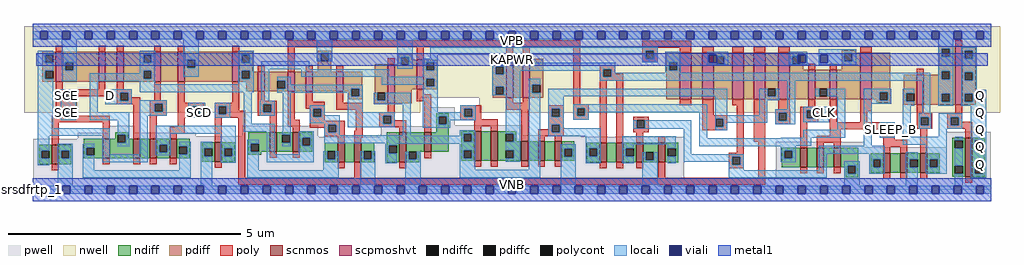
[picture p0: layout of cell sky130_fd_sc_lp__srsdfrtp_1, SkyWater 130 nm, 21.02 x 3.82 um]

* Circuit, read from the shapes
.subckt sky130_fd_sc_lp__srsdfrtp_1 CLK D RESET_B SCD SCE SLEEP_B KAPWR VGND VNB VPB VPWR Q
XM1 VGND SCE n1 VNB sky130_fd_pr__nfet_01v8 w=0.42 l=0.15
XM2 n2 SCE n3 VNB sky130_fd_pr__nfet_01v8 w=0.42 l=0.15
XM3 n4 D n2 VNB sky130_fd_pr__nfet_01v8 w=0.42 l=0.15
XM4 n5 n1 n4 VNB sky130_fd_pr__nfet_01v8 w=0.42 l=0.15
XM5 n3 SCD n5 VNB sky130_fd_pr__nfet_01v8 w=0.42 l=0.15
XM6 n5 RESET_B VGND VNB sky130_fd_pr__nfet_01v8 w=0.42 l=0.15
XM7 n6 n7 n8 VNB sky130_fd_pr__nfet_01v8 w=0.42 l=0.15
XM8 n2 n9 n6 VNB sky130_fd_pr__nfet_01v8 w=0.42 l=0.15
XM9 n10 n11 n8 VNB sky130_fd_pr__nfet_01v8 w=0.42 l=0.15
XM10 VGND RESET_B n10 VNB sky130_fd_pr__nfet_01v8 w=0.42 l=0.15
XM11 VGND n6 n11 VNB sky130_fd_pr__nfet_01v8 w=0.64 l=0.15
XM12 n7 n9 VGND VNB sky130_fd_pr__nfet_01v8 w=0.42 l=0.15
XM13 n12 n7 n11 VNB sky130_fd_pr__nfet_01v8 w=0.64 l=0.15
XM14 n13 n7 n12 VNB sky130_fd_pr__nfet_01v8 w=0.64 l=0.15
XM15 n14 n9 n13 VNB sky130_fd_pr__nfet_01v8 w=0.42 l=0.15
XM16 n15 n16 n14 VNB sky130_fd_pr__nfet_01v8 w=0.42 l=0.15
XM17 VGND n16 n15 VNB sky130_fd_pr__nfet_01v8 w=0.42 l=0.15
XM18 n17 n13 n16 VNB sky130_fd_pr__nfet_01v8 w=0.42 l=0.15
XM19 n18 n13 n17 VNB sky130_fd_pr__nfet_01v8 w=0.42 l=0.15
XM20 VGND n19 n18 VNB sky130_fd_pr__nfet_01v8 w=0.42 l=0.15
XM21 n18 RESET_B VGND VNB sky130_fd_pr__nfet_01v8 w=0.42 l=0.15
XM22 n20 CLK n9 VNB sky130_fd_pr__nfet_01v8 w=0.42 l=0.15
XM23 n21 SLEEP_B n20 VNB sky130_fd_pr__nfet_01v8 w=0.42 l=0.15
XM24 VGND SLEEP_B n21 VNB sky130_fd_pr__nfet_01v8 w=0.42 l=0.15
XM25 n22 SLEEP_B n19 VNB sky130_fd_pr__nfet_01v8 w=0.42 l=0.15
XM26 VGND SLEEP_B n22 VNB sky130_fd_pr__nfet_01v8 w=0.42 l=0.15
XM27 n23 n13 VGND VNB sky130_fd_pr__nfet_01v8 w=0.42 l=0.15
XM28 Q n23 VGND VNB sky130_fd_pr__nfet_01v8 w=0.84 l=0.15
XM29 VPWR SCE n1 VPB sky130_fd_pr__pfet_01v8_hvt w=0.64 l=0.15
XM30 n24 SCE VPWR VPB sky130_fd_pr__pfet_01v8_hvt w=0.64 l=0.15
XM31 n2 D n24 VPB sky130_fd_pr__pfet_01v8_hvt w=0.64 l=0.15
XM32 n25 n1 n2 VPB sky130_fd_pr__pfet_01v8_hvt w=0.64 l=0.15
XM33 VPWR SCD n25 VPB sky130_fd_pr__pfet_01v8_hvt w=0.64 l=0.15
XM34 n2 RESET_B VPWR VPB sky130_fd_pr__pfet_01v8_hvt w=0.64 l=0.15
XM35 n6 n7 n2 VPB sky130_fd_pr__pfet_01v8_hvt w=0.42 l=0.15
XM36 n26 n9 n6 VPB sky130_fd_pr__pfet_01v8_hvt w=0.42 l=0.15
XM37 VPWR n11 n26 VPB sky130_fd_pr__pfet_01v8_hvt w=0.42 l=0.15
XM38 n6 RESET_B VPWR VPB sky130_fd_pr__pfet_01v8_hvt w=0.42 l=0.15
XM39 VPWR n6 n11 VPB sky130_fd_pr__pfet_01v8_hvt w=0.84 l=0.15
XM40 n7 n9 VPWR VPB sky130_fd_pr__pfet_01v8_hvt w=0.64 l=0.15
XM41 n27 n9 n13 VPB sky130_fd_pr__pfet_01v8_hvt w=0.84 l=0.15
XM42 n11 n9 n27 VPB sky130_fd_pr__pfet_01v8_hvt w=0.84 l=0.15
XM43 n28 n7 n13 VPB sky130_fd_pr__pfet_01v8_hvt w=1 l=0.25
XM44 KAPWR n16 n28 VPB sky130_fd_pr__pfet_01v8_hvt w=1 l=0.25
XM45 n29 n19 KAPWR VPB sky130_fd_pr__pfet_01v8_hvt w=1 l=0.25
XM46 n16 RESET_B n29 VPB sky130_fd_pr__pfet_01v8_hvt w=1 l=0.25
XM47 KAPWR n13 n16 VPB sky130_fd_pr__pfet_01v8_hvt w=1 l=0.25
XM48 n9 CLK KAPWR VPB sky130_fd_pr__pfet_01v8_hvt w=0.64 l=0.15
XM49 KAPWR SLEEP_B n9 VPB sky130_fd_pr__pfet_01v8_hvt w=0.64 l=0.15
XM50 n19 SLEEP_B KAPWR VPB sky130_fd_pr__pfet_01v8_hvt w=1 l=0.25
XM51 VPWR n13 n23 VPB sky130_fd_pr__pfet_01v8_hvt w=0.64 l=0.15
XM52 Q n23 VPWR VPB sky130_fd_pr__pfet_01v8_hvt w=1.26 l=0.15
.ends

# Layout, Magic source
magic
tech sky130A
magscale 1 2
<< nwell >>
rect -38 397 4166 704
rect -38 331 1668 397
rect 1922 331 4166 397
<< pwell >>
rect 1712 279 1818 355
rect 328 246 436 275
rect 194 230 701 246
rect 903 230 1230 275
rect 1712 273 2108 279
rect 194 229 1230 230
rect 1498 235 2108 273
rect 1498 229 2359 235
rect 194 220 2807 229
rect 1 49 2807 220
rect 3199 183 3581 207
rect 3935 183 4127 251
rect 3199 49 4127 183
rect 0 0 4128 49
<< scnmos >>
rect 82 110 112 194
rect 302 136 332 220
rect 432 136 462 220
rect 504 136 534 220
rect 590 136 620 220
rect 784 120 814 204
rect 1020 165 1050 249
rect 1120 165 1150 249
rect 1313 119 1343 203
rect 1385 119 1415 203
rect 1579 119 1609 247
rect 1686 163 1716 247
rect 1901 125 1931 253
rect 1973 125 2003 253
rect 2104 125 2134 209
rect 2176 125 2206 209
rect 2248 125 2278 209
rect 2442 119 2472 203
rect 2514 119 2544 203
rect 2600 119 2630 203
rect 2694 119 2724 203
rect 3305 97 3335 181
rect 3377 97 3407 181
rect 3449 97 3479 181
rect 3664 73 3694 157
rect 3736 73 3766 157
rect 3822 73 3852 157
rect 4016 57 4046 225
<< scpmoshvt >>
rect 98 466 128 594
rect 283 466 313 594
rect 361 466 391 594
rect 522 466 552 594
rect 624 466 654 594
rect 860 466 890 594
rect 969 424 999 508
rect 1098 424 1128 508
rect 1176 424 1206 508
rect 1308 424 1338 508
rect 1529 373 1559 541
rect 1654 433 1684 561
rect 2039 397 2069 565
rect 2111 397 2141 565
rect 2786 390 2836 590
rect 2884 390 2934 590
rect 3013 390 3063 590
rect 3105 390 3155 590
rect 3211 390 3261 590
rect 3340 390 3370 518
rect 3432 390 3462 518
rect 3564 390 3614 590
rect 3808 367 3838 495
rect 3974 367 4004 619
<< ndiff >>
rect 354 237 410 249
rect 354 220 366 237
rect 27 169 82 194
rect 27 135 37 169
rect 71 135 82 169
rect 27 110 82 135
rect 112 169 166 194
rect 112 135 123 169
rect 157 135 166 169
rect 220 182 302 220
rect 220 148 230 182
rect 264 148 302 182
rect 220 136 302 148
rect 332 203 366 220
rect 400 220 410 237
rect 400 203 432 220
rect 332 136 432 203
rect 462 136 504 220
rect 534 195 590 220
rect 534 161 545 195
rect 579 161 590 195
rect 534 136 590 161
rect 620 187 675 220
rect 620 153 631 187
rect 665 153 675 187
rect 620 136 675 153
rect 729 179 784 204
rect 729 145 739 179
rect 773 145 784 179
rect 112 110 166 135
rect 729 120 784 145
rect 814 179 869 204
rect 814 145 825 179
rect 859 145 869 179
rect 814 120 869 145
rect 929 199 1020 249
rect 929 165 939 199
rect 973 165 1020 199
rect 1050 237 1120 249
rect 1050 203 1075 237
rect 1109 203 1120 237
rect 1050 165 1120 203
rect 1150 224 1204 249
rect 1150 190 1161 224
rect 1195 190 1204 224
rect 1738 317 1792 329
rect 1738 283 1748 317
rect 1782 283 1792 317
rect 1738 247 1792 283
rect 1150 165 1204 190
rect 1258 166 1313 203
rect 929 152 985 165
rect 1258 132 1268 166
rect 1302 132 1313 166
rect 1258 119 1313 132
rect 1343 119 1385 203
rect 1415 166 1470 203
rect 1415 132 1426 166
rect 1460 132 1470 166
rect 1415 119 1470 132
rect 1524 192 1579 247
rect 1524 158 1534 192
rect 1568 158 1579 192
rect 1524 119 1579 158
rect 1609 165 1686 247
rect 1609 131 1620 165
rect 1654 163 1686 165
rect 1716 163 1792 247
rect 1846 241 1901 253
rect 1846 207 1856 241
rect 1890 207 1901 241
rect 1846 171 1901 207
rect 1654 131 1664 163
rect 1846 137 1856 171
rect 1890 137 1901 171
rect 1609 119 1664 131
rect 1846 125 1901 137
rect 1931 125 1973 253
rect 2003 241 2082 253
rect 2003 207 2038 241
rect 2072 209 2082 241
rect 2072 207 2104 209
rect 2003 171 2104 207
rect 2003 137 2038 171
rect 2072 137 2104 171
rect 2003 125 2104 137
rect 2134 125 2176 209
rect 2206 125 2248 209
rect 2278 176 2333 209
rect 2278 142 2289 176
rect 2323 142 2333 176
rect 2278 125 2333 142
rect 2387 178 2442 203
rect 2387 144 2397 178
rect 2431 144 2442 178
rect 2387 119 2442 144
rect 2472 119 2514 203
rect 2544 178 2600 203
rect 2544 144 2555 178
rect 2589 144 2600 178
rect 2544 119 2600 144
rect 2630 162 2694 203
rect 2630 128 2641 162
rect 2675 128 2694 162
rect 2630 119 2694 128
rect 2724 178 2781 203
rect 2724 144 2735 178
rect 2769 144 2781 178
rect 2724 119 2781 144
rect 3225 169 3305 181
rect 3225 135 3237 169
rect 3271 135 3305 169
rect 3225 97 3305 135
rect 3335 97 3377 181
rect 3407 97 3449 181
rect 3479 103 3555 181
rect 3961 213 4016 225
rect 3961 179 3971 213
rect 4005 179 4016 213
rect 3479 97 3511 103
rect 3501 69 3511 97
rect 3545 69 3555 103
rect 3609 132 3664 157
rect 3609 98 3619 132
rect 3653 98 3664 132
rect 3609 73 3664 98
rect 3694 73 3736 157
rect 3766 132 3822 157
rect 3766 98 3777 132
rect 3811 98 3822 132
rect 3766 73 3822 98
rect 3852 132 3907 157
rect 3852 98 3863 132
rect 3897 98 3907 132
rect 3852 73 3907 98
rect 3961 103 4016 179
rect 3501 54 3555 69
rect 3961 69 3971 103
rect 4005 69 4016 103
rect 3961 57 4016 69
rect 4046 213 4101 225
rect 4046 179 4057 213
rect 4091 179 4101 213
rect 4046 103 4101 179
rect 4046 69 4057 103
rect 4091 69 4101 103
rect 4046 57 4101 69
<< pdiff >>
rect 41 582 98 594
rect 41 548 53 582
rect 87 548 98 582
rect 41 512 98 548
rect 41 478 53 512
rect 87 478 98 512
rect 41 466 98 478
rect 128 550 283 594
rect 128 516 140 550
rect 174 516 283 550
rect 128 466 283 516
rect 313 466 361 594
rect 391 582 522 594
rect 391 548 477 582
rect 511 548 522 582
rect 391 512 522 548
rect 391 478 477 512
rect 511 478 522 512
rect 391 466 522 478
rect 552 466 624 594
rect 654 560 860 594
rect 654 526 665 560
rect 699 526 860 560
rect 654 466 860 526
rect 890 582 947 594
rect 890 548 901 582
rect 935 548 947 582
rect 890 512 947 548
rect 890 478 901 512
rect 935 508 947 512
rect 1228 588 1286 600
rect 1228 554 1240 588
rect 1274 554 1286 588
rect 1574 571 1632 583
rect 1228 508 1286 554
rect 1574 541 1586 571
rect 935 478 969 508
rect 890 466 969 478
rect 919 424 969 466
rect 999 470 1098 508
rect 999 436 1053 470
rect 1087 436 1098 470
rect 999 424 1098 436
rect 1128 424 1176 508
rect 1206 424 1308 508
rect 1338 436 1418 508
rect 1338 424 1372 436
rect 1360 402 1372 424
rect 1406 402 1418 436
rect 1360 390 1418 402
rect 1472 419 1529 541
rect 1472 385 1484 419
rect 1518 385 1529 419
rect 1472 373 1529 385
rect 1559 537 1586 541
rect 1620 561 1632 571
rect 1620 537 1654 561
rect 1559 433 1654 537
rect 1684 549 1741 561
rect 1684 515 1695 549
rect 1729 515 1741 549
rect 1684 479 1741 515
rect 1684 445 1695 479
rect 1729 445 1741 479
rect 1684 433 1741 445
rect 1982 531 2039 565
rect 1982 497 1994 531
rect 2028 497 2039 531
rect 1982 443 2039 497
rect 1559 373 1632 433
rect 1982 409 1994 443
rect 2028 409 2039 443
rect 1982 397 2039 409
rect 2069 397 2111 565
rect 2141 453 2198 565
rect 2141 419 2152 453
rect 2186 419 2198 453
rect 2141 397 2198 419
rect 3484 590 3542 601
rect 3903 607 3974 619
rect 2729 549 2786 590
rect 2729 515 2741 549
rect 2775 515 2786 549
rect 2729 390 2786 515
rect 2836 390 2884 590
rect 2934 575 3013 590
rect 2934 541 2945 575
rect 2979 541 3013 575
rect 2934 390 3013 541
rect 3063 390 3105 590
rect 3155 436 3211 590
rect 3155 402 3166 436
rect 3200 402 3211 436
rect 3155 390 3211 402
rect 3261 575 3318 590
rect 3261 541 3272 575
rect 3306 541 3318 575
rect 3484 588 3564 590
rect 3484 554 3496 588
rect 3530 554 3564 588
rect 3261 518 3318 541
rect 3484 518 3564 554
rect 3261 390 3340 518
rect 3370 436 3432 518
rect 3370 402 3387 436
rect 3421 402 3432 436
rect 3370 390 3432 402
rect 3462 390 3564 518
rect 3614 420 3694 590
rect 3903 573 3915 607
rect 3949 573 3974 607
rect 3903 510 3974 573
rect 3903 495 3915 510
rect 3614 390 3648 420
rect 3636 386 3648 390
rect 3682 386 3694 420
rect 3636 374 3694 386
rect 3751 416 3808 495
rect 3751 382 3763 416
rect 3797 382 3808 416
rect 3751 367 3808 382
rect 3838 476 3915 495
rect 3949 476 3974 510
rect 3838 413 3974 476
rect 3838 379 3915 413
rect 3949 379 3974 413
rect 3838 367 3974 379
rect 4004 599 4061 619
rect 4004 565 4015 599
rect 4049 565 4061 599
rect 4004 506 4061 565
rect 4004 472 4015 506
rect 4049 472 4061 506
rect 4004 413 4061 472
rect 4004 379 4015 413
rect 4049 379 4061 413
rect 4004 367 4061 379
<< ndiffc >>
rect 37 135 71 169
rect 123 135 157 169
rect 230 148 264 182
rect 366 203 400 237
rect 545 161 579 195
rect 631 153 665 187
rect 739 145 773 179
rect 825 145 859 179
rect 939 165 973 199
rect 1075 203 1109 237
rect 1161 190 1195 224
rect 1748 283 1782 317
rect 1268 132 1302 166
rect 1426 132 1460 166
rect 1534 158 1568 192
rect 1620 131 1654 165
rect 1856 207 1890 241
rect 1856 137 1890 171
rect 2038 207 2072 241
rect 2038 137 2072 171
rect 2289 142 2323 176
rect 2397 144 2431 178
rect 2555 144 2589 178
rect 2641 128 2675 162
rect 2735 144 2769 178
rect 3237 135 3271 169
rect 3971 179 4005 213
rect 3511 69 3545 103
rect 3619 98 3653 132
rect 3777 98 3811 132
rect 3863 98 3897 132
rect 3971 69 4005 103
rect 4057 179 4091 213
rect 4057 69 4091 103
<< pdiffc >>
rect 53 548 87 582
rect 53 478 87 512
rect 140 516 174 550
rect 477 548 511 582
rect 477 478 511 512
rect 665 526 699 560
rect 901 548 935 582
rect 901 478 935 512
rect 1240 554 1274 588
rect 1053 436 1087 470
rect 1372 402 1406 436
rect 1484 385 1518 419
rect 1586 537 1620 571
rect 1695 515 1729 549
rect 1695 445 1729 479
rect 1994 497 2028 531
rect 1994 409 2028 443
rect 2152 419 2186 453
rect 2741 515 2775 549
rect 2945 541 2979 575
rect 3166 402 3200 436
rect 3272 541 3306 575
rect 3496 554 3530 588
rect 3387 402 3421 436
rect 3915 573 3949 607
rect 3648 386 3682 420
rect 3763 382 3797 416
rect 3915 476 3949 510
rect 3915 379 3949 413
rect 4015 565 4049 599
rect 4015 472 4049 506
rect 4015 379 4049 413
<< poly >>
rect 98 594 128 620
rect 283 594 313 620
rect 361 594 391 620
rect 522 594 552 620
rect 624 594 654 620
rect 860 594 890 620
rect 1098 615 2358 645
rect 969 508 999 534
rect 1098 508 1128 615
rect 1176 508 1206 534
rect 1529 541 1559 567
rect 1308 508 1338 534
rect 98 434 128 466
rect 283 434 313 466
rect 98 418 313 434
rect 98 384 137 418
rect 171 404 313 418
rect 361 434 391 466
rect 361 418 427 434
rect 171 384 190 404
rect 98 350 190 384
rect 361 384 377 418
rect 411 398 427 418
rect 411 384 462 398
rect 522 386 552 466
rect 361 368 462 384
rect 98 320 137 350
rect 82 316 137 320
rect 171 320 190 350
rect 171 316 332 320
rect 82 290 332 316
rect 82 194 112 290
rect 302 220 332 290
rect 432 220 462 368
rect 504 370 576 386
rect 504 336 526 370
rect 560 336 576 370
rect 504 320 576 336
rect 624 376 654 466
rect 860 376 890 466
rect 624 360 736 376
rect 624 326 686 360
rect 720 326 736 360
rect 504 220 534 320
rect 624 310 736 326
rect 784 360 890 376
rect 784 326 800 360
rect 834 340 890 360
rect 969 384 999 424
rect 969 368 1050 384
rect 834 326 914 340
rect 784 310 914 326
rect 969 334 993 368
rect 1027 334 1050 368
rect 969 318 1050 334
rect 624 272 654 310
rect 590 242 654 272
rect 590 220 620 242
rect 784 204 814 310
rect 302 110 332 136
rect 432 110 462 136
rect 504 110 534 136
rect 590 110 620 136
rect 82 84 112 110
rect 784 94 814 120
rect 884 51 914 310
rect 1020 249 1050 318
rect 1098 301 1128 424
rect 1176 379 1206 424
rect 1176 349 1258 379
rect 1192 315 1208 349
rect 1242 315 1258 349
rect 1308 375 1338 424
rect 1308 345 1421 375
rect 1654 561 1684 615
rect 2039 565 2069 615
rect 2111 565 2141 615
rect 1654 411 1684 433
rect 1654 381 1716 411
rect 1098 271 1150 301
rect 1120 249 1150 271
rect 1192 297 1258 315
rect 1192 281 1343 297
rect 1192 267 1272 281
rect 1256 247 1272 267
rect 1306 247 1343 281
rect 1391 255 1421 345
rect 1529 335 1559 373
rect 1493 319 1559 335
rect 1493 285 1509 319
rect 1543 299 1559 319
rect 1543 285 1609 299
rect 1493 269 1609 285
rect 1256 231 1343 247
rect 1313 203 1343 231
rect 1385 225 1421 255
rect 1579 247 1609 269
rect 1686 247 1716 381
rect 2039 375 2069 397
rect 2111 375 2141 397
rect 1842 349 1931 365
rect 1842 315 1858 349
rect 1892 315 1931 349
rect 2039 345 2141 375
rect 2328 368 2358 615
rect 2625 612 2836 642
rect 3974 619 4004 645
rect 2625 599 2691 612
rect 2625 565 2641 599
rect 2675 565 2691 599
rect 2786 590 2836 612
rect 2884 590 2934 616
rect 3013 590 3063 616
rect 3105 590 3155 616
rect 3211 590 3261 616
rect 3564 590 3614 616
rect 2625 549 2691 565
rect 2442 520 2508 536
rect 2442 486 2458 520
rect 2492 500 2508 520
rect 2492 486 2544 500
rect 2442 470 2544 486
rect 2220 349 2286 365
rect 1842 303 1931 315
rect 1842 299 2003 303
rect 1901 273 2003 299
rect 1901 253 1931 273
rect 1973 253 2003 273
rect 1385 203 1415 225
rect 1020 139 1050 165
rect 1120 139 1150 165
rect 1686 137 1716 163
rect 2104 209 2134 345
rect 2220 315 2236 349
rect 2270 315 2286 349
rect 2220 281 2286 315
rect 2328 352 2394 368
rect 2328 318 2344 352
rect 2378 318 2394 352
rect 2328 302 2394 318
rect 2220 261 2236 281
rect 2176 247 2236 261
rect 2270 247 2286 281
rect 2176 231 2286 247
rect 2176 209 2206 231
rect 2248 209 2278 231
rect 2442 203 2472 470
rect 2514 203 2544 470
rect 3340 518 3370 544
rect 3432 518 3462 544
rect 3808 495 3838 521
rect 2786 364 2836 390
rect 2884 322 2934 390
rect 3013 364 3063 390
rect 2586 299 2652 315
rect 2586 265 2602 299
rect 2636 265 2652 299
rect 2586 249 2652 265
rect 2884 306 2991 322
rect 2884 272 2941 306
rect 2975 272 2991 306
rect 2884 256 2991 272
rect 2600 203 2630 249
rect 2694 203 2724 229
rect 1313 93 1343 119
rect 1385 51 1415 119
rect 1579 93 1609 119
rect 1901 99 1931 125
rect 1973 99 2003 125
rect 2104 99 2134 125
rect 2176 99 2206 125
rect 2248 99 2278 125
rect 3033 159 3063 364
rect 3105 207 3155 390
rect 3211 348 3261 390
rect 3340 358 3370 390
rect 3197 332 3263 348
rect 3197 298 3213 332
rect 3247 298 3263 332
rect 3197 282 3263 298
rect 3305 342 3384 358
rect 3305 308 3334 342
rect 3368 308 3384 342
rect 3305 292 3384 308
rect 2997 143 3063 159
rect 2442 93 2472 119
rect 2514 93 2544 119
rect 2600 93 2630 119
rect 2694 51 2724 119
rect 2997 109 3013 143
rect 3047 109 3063 143
rect 2997 93 3063 109
rect 3125 51 3155 207
rect 3305 181 3335 292
rect 3432 290 3462 390
rect 3564 338 3614 390
rect 3564 290 3594 338
rect 3808 329 3838 367
rect 3974 329 4004 367
rect 3808 313 3875 329
rect 3432 274 3713 290
rect 3432 260 3663 274
rect 3432 233 3479 260
rect 3377 203 3479 233
rect 3647 240 3663 260
rect 3697 240 3713 274
rect 3808 279 3825 313
rect 3859 279 3875 313
rect 3808 263 3875 279
rect 3938 313 4004 329
rect 3938 279 3954 313
rect 3988 293 4004 313
rect 3988 279 4046 293
rect 3938 263 4046 279
rect 3647 224 3713 240
rect 3377 181 3407 203
rect 3449 181 3479 203
rect 3664 215 3713 224
rect 3664 185 3766 215
rect 3664 157 3694 185
rect 3736 157 3766 185
rect 3822 157 3852 263
rect 4016 225 4046 263
rect 3305 71 3335 97
rect 3377 71 3407 97
rect 3449 71 3479 97
rect 884 21 3155 51
rect 3664 47 3694 73
rect 3736 47 3766 73
rect 3822 47 3852 73
rect 4016 31 4046 57
<< polycont >>
rect 137 384 171 418
rect 377 384 411 418
rect 137 316 171 350
rect 526 336 560 370
rect 686 326 720 360
rect 800 326 834 360
rect 993 334 1027 368
rect 1208 315 1242 349
rect 1272 247 1306 281
rect 1509 285 1543 319
rect 1858 315 1892 349
rect 2641 565 2675 599
rect 2458 486 2492 520
rect 2236 315 2270 349
rect 2344 318 2378 352
rect 2236 247 2270 281
rect 2602 265 2636 299
rect 2941 272 2975 306
rect 3213 298 3247 332
rect 3334 308 3368 342
rect 3013 109 3047 143
rect 3663 240 3697 274
rect 3825 279 3859 313
rect 3954 279 3988 313
<< locali >>
rect 0 649 31 683
rect 65 649 127 683
rect 161 649 223 683
rect 257 649 319 683
rect 353 649 415 683
rect 449 649 511 683
rect 545 649 607 683
rect 641 649 703 683
rect 737 649 799 683
rect 833 649 895 683
rect 929 649 991 683
rect 1025 649 1087 683
rect 1121 649 1183 683
rect 1217 649 1279 683
rect 1313 649 1375 683
rect 1409 649 1471 683
rect 1505 649 1567 683
rect 1601 649 1663 683
rect 1697 649 1759 683
rect 1793 649 1855 683
rect 1889 649 1951 683
rect 1985 649 2047 683
rect 2081 649 2143 683
rect 2177 649 2239 683
rect 2273 649 2335 683
rect 2369 649 2431 683
rect 2465 649 2527 683
rect 2561 649 2623 683
rect 2657 649 2719 683
rect 2753 649 2815 683
rect 2849 649 2911 683
rect 2945 649 3007 683
rect 3041 649 3103 683
rect 3137 649 3199 683
rect 3233 649 3295 683
rect 3329 649 3391 683
rect 3425 649 3487 683
rect 3521 649 3583 683
rect 3617 649 3679 683
rect 3713 649 3775 683
rect 3809 649 3871 683
rect 3905 649 3967 683
rect 4001 649 4063 683
rect 4097 649 4128 683
rect 21 582 87 598
rect 21 548 53 582
rect 21 512 87 548
rect 21 478 53 512
rect 21 266 87 478
rect 124 550 190 649
rect 124 516 140 550
rect 174 516 190 550
rect 124 468 190 516
rect 461 582 527 598
rect 461 548 477 582
rect 511 548 527 582
rect 461 512 527 548
rect 461 502 477 512
rect 245 478 477 502
rect 511 478 527 512
rect 649 560 715 649
rect 649 526 665 560
rect 699 526 715 560
rect 649 488 715 526
rect 885 582 951 598
rect 885 548 901 582
rect 935 548 951 582
rect 1224 588 1290 649
rect 1224 554 1240 588
rect 1274 554 1290 588
rect 1570 571 1636 649
rect 885 512 951 548
rect 245 468 527 478
rect 121 418 187 434
rect 121 384 137 418
rect 171 384 187 418
rect 121 350 187 384
rect 121 316 137 350
rect 171 316 187 350
rect 121 300 187 316
rect 245 334 279 468
rect 461 454 527 468
rect 885 478 901 512
rect 935 478 951 512
rect 885 454 951 478
rect 313 418 427 434
rect 461 420 951 454
rect 985 520 1190 554
rect 1570 537 1586 571
rect 1620 537 1636 571
rect 1711 599 2691 615
rect 3899 607 3965 649
rect 1711 581 2641 599
rect 1711 565 1745 581
rect 1570 521 1636 537
rect 1679 549 1745 565
rect 2625 565 2641 581
rect 2675 565 2691 599
rect 2625 549 2691 565
rect 2725 549 2791 594
rect 313 384 377 418
rect 411 384 427 418
rect 313 368 427 384
rect 461 370 576 386
rect 461 336 526 370
rect 560 336 576 370
rect 245 300 416 334
rect 21 232 332 266
rect 21 169 71 232
rect 21 135 37 169
rect 21 106 71 135
rect 107 169 173 198
rect 107 135 123 169
rect 157 135 173 169
rect 107 17 173 135
rect 214 182 264 198
rect 214 148 230 182
rect 214 85 264 148
rect 298 153 332 232
rect 366 237 416 300
rect 400 203 416 237
rect 366 187 416 203
rect 461 320 576 336
rect 670 360 743 376
rect 670 326 686 360
rect 720 326 743 360
rect 461 153 495 320
rect 670 310 743 326
rect 784 360 850 376
rect 784 326 800 360
rect 834 326 850 360
rect 784 310 850 326
rect 909 284 943 420
rect 985 384 1019 520
rect 1156 487 1536 520
rect 1679 515 1695 549
rect 1729 515 1745 549
rect 1679 487 1745 515
rect 1156 486 1745 487
rect 1053 470 1111 486
rect 1087 452 1111 470
rect 1502 479 1745 486
rect 1502 453 1695 479
rect 1087 436 1422 452
rect 1053 418 1372 436
rect 977 368 1043 384
rect 977 334 993 368
rect 1027 334 1043 368
rect 977 318 1043 334
rect 298 119 495 153
rect 529 242 875 276
rect 909 250 1041 284
rect 1077 253 1111 418
rect 1356 402 1372 418
rect 1406 402 1422 436
rect 1679 445 1695 453
rect 1729 445 1745 479
rect 1192 349 1258 365
rect 1192 315 1208 349
rect 1242 321 1258 349
rect 1356 335 1422 402
rect 1468 385 1484 419
rect 1518 385 1627 419
rect 1468 369 1627 385
rect 1242 315 1322 321
rect 1192 287 1322 315
rect 1256 281 1322 287
rect 529 195 595 242
rect 529 161 545 195
rect 579 161 595 195
rect 529 148 595 161
rect 631 187 681 208
rect 665 153 681 187
rect 631 85 681 153
rect 214 51 681 85
rect 723 179 773 208
rect 723 145 739 179
rect 723 17 773 145
rect 809 179 875 242
rect 809 145 825 179
rect 859 145 875 179
rect 809 116 875 145
rect 923 199 973 216
rect 923 165 939 199
rect 923 85 973 165
rect 1007 153 1041 250
rect 1075 237 1111 253
rect 1109 203 1111 237
rect 1075 187 1111 203
rect 1145 224 1211 253
rect 1145 190 1161 224
rect 1195 190 1211 224
rect 1256 247 1272 281
rect 1306 247 1322 281
rect 1356 319 1559 335
rect 1356 285 1509 319
rect 1543 285 1559 319
rect 1356 269 1559 285
rect 1256 235 1322 247
rect 1593 235 1627 369
rect 1679 333 1745 445
rect 1978 531 2508 547
rect 1978 497 1994 531
rect 2028 520 2508 531
rect 2028 513 2458 520
rect 2028 497 2100 513
rect 1978 443 2100 497
rect 2442 486 2458 513
rect 2492 504 2508 520
rect 2725 515 2741 549
rect 2775 515 2791 549
rect 2905 581 2995 594
rect 2905 547 2911 581
rect 2945 575 2995 581
rect 2905 541 2945 547
rect 2979 541 2995 575
rect 2905 538 2995 541
rect 3256 581 3335 594
rect 3256 575 3295 581
rect 3256 541 3272 575
rect 3329 547 3335 581
rect 3306 541 3335 547
rect 3256 538 3335 541
rect 3385 588 3546 605
rect 3385 581 3496 588
rect 3385 547 3391 581
rect 3425 554 3496 581
rect 3530 554 3546 588
rect 3425 547 3546 554
rect 3385 538 3546 547
rect 3899 573 3915 607
rect 3949 573 3965 607
rect 2725 504 2791 515
rect 3899 510 3965 573
rect 2492 486 3865 504
rect 1978 409 1994 443
rect 2028 409 2100 443
rect 1978 408 2100 409
rect 1842 349 1908 365
rect 1842 333 1858 349
rect 1679 317 1858 333
rect 1679 283 1748 317
rect 1782 315 1858 317
rect 1892 315 1908 349
rect 1782 299 1908 315
rect 1782 283 1798 299
rect 1679 267 1798 283
rect 1256 233 1627 235
rect 1840 241 1906 257
rect 1840 233 1856 241
rect 1256 207 1856 233
rect 1890 207 1906 241
rect 1256 201 1906 207
rect 1145 153 1211 190
rect 1518 199 1906 201
rect 1518 192 1568 199
rect 1007 119 1211 153
rect 1252 166 1318 167
rect 1252 132 1268 166
rect 1302 132 1318 166
rect 1252 85 1318 132
rect 923 51 1318 85
rect 1410 166 1476 167
rect 1410 132 1426 166
rect 1460 132 1476 166
rect 1410 17 1476 132
rect 1518 158 1534 192
rect 1840 171 1906 199
rect 1518 115 1568 158
rect 1604 131 1620 165
rect 1654 131 1670 165
rect 1604 17 1670 131
rect 1840 137 1856 171
rect 1890 137 1906 171
rect 1840 87 1906 137
rect 2038 241 2100 408
rect 2072 207 2100 241
rect 2038 171 2100 207
rect 2072 137 2100 171
rect 2038 121 2100 137
rect 2136 453 2186 479
rect 2442 470 3865 486
rect 2136 419 2152 453
rect 2136 87 2186 419
rect 2220 402 2991 436
rect 2220 349 2286 402
rect 2220 315 2236 349
rect 2270 315 2286 349
rect 2220 281 2286 315
rect 2328 352 2905 368
rect 2328 318 2344 352
rect 2378 334 2905 352
rect 2378 318 2394 334
rect 2328 302 2394 318
rect 2220 247 2236 281
rect 2270 265 2286 281
rect 2586 299 2837 300
rect 2586 265 2602 299
rect 2636 265 2837 299
rect 2270 247 2447 265
rect 2586 264 2837 265
rect 2220 231 2447 247
rect 1840 53 2186 87
rect 2273 176 2339 197
rect 2273 142 2289 176
rect 2323 142 2339 176
rect 2273 17 2339 142
rect 2381 178 2447 231
rect 2381 144 2397 178
rect 2431 144 2447 178
rect 2381 115 2447 144
rect 2539 196 2769 230
rect 2539 178 2589 196
rect 2539 144 2555 178
rect 2735 178 2769 196
rect 2539 115 2589 144
rect 2625 128 2641 162
rect 2675 128 2691 162
rect 2625 17 2691 128
rect 2735 115 2769 144
rect 2803 154 2837 264
rect 2871 222 2905 334
rect 2939 322 2991 402
rect 3129 402 3166 436
rect 3200 402 3216 436
rect 3129 386 3216 402
rect 3129 322 3163 386
rect 3250 348 3284 470
rect 3371 402 3387 436
rect 3421 402 3499 436
rect 2939 306 3163 322
rect 2939 272 2941 306
rect 2975 288 3163 306
rect 3197 332 3284 348
rect 3197 298 3213 332
rect 3247 298 3284 332
rect 2975 272 2991 288
rect 3197 282 3284 298
rect 3318 342 3431 358
rect 3318 308 3334 342
rect 3368 308 3431 342
rect 3318 292 3431 308
rect 2939 256 2991 272
rect 3465 258 3499 402
rect 3318 224 3499 258
rect 3579 420 3698 436
rect 3579 386 3648 420
rect 3682 386 3698 420
rect 3579 370 3698 386
rect 3747 416 3797 436
rect 3747 382 3763 416
rect 3221 222 3352 224
rect 2871 190 3352 222
rect 3579 190 3613 370
rect 3747 363 3797 382
rect 3647 274 3713 290
rect 3647 240 3663 274
rect 3697 240 3713 274
rect 3647 224 3713 240
rect 3747 229 3781 363
rect 3831 329 3865 470
rect 3899 476 3915 510
rect 3949 476 3965 510
rect 3899 413 3965 476
rect 3899 379 3915 413
rect 3949 379 3965 413
rect 3899 363 3965 379
rect 3999 599 4065 615
rect 3999 565 4015 599
rect 4049 565 4065 599
rect 3999 506 4065 565
rect 3999 472 4015 506
rect 4049 472 4065 506
rect 3999 430 4065 472
rect 3999 413 4107 430
rect 3999 379 4015 413
rect 4049 379 4107 413
rect 3999 363 4107 379
rect 3815 313 3869 329
rect 3815 279 3825 313
rect 3859 279 3869 313
rect 3815 263 3869 279
rect 3903 313 4004 329
rect 3903 279 3954 313
rect 3988 279 4004 313
rect 3903 263 4004 279
rect 3903 229 3937 263
rect 3747 195 3937 229
rect 2871 188 3287 190
rect 3221 169 3287 188
rect 2803 143 3063 154
rect 2803 120 3013 143
rect 2997 109 3013 120
rect 3047 109 3063 143
rect 3221 135 3237 169
rect 3271 135 3287 169
rect 3221 119 3287 135
rect 3386 156 3669 190
rect 2997 85 3063 109
rect 3386 85 3420 156
rect 3603 132 3669 156
rect 2997 51 3420 85
rect 3495 103 3561 122
rect 3495 69 3511 103
rect 3545 69 3561 103
rect 3603 98 3619 132
rect 3653 98 3669 132
rect 3603 69 3669 98
rect 3761 132 3811 161
rect 3761 98 3777 132
rect 3495 17 3561 69
rect 3761 17 3811 98
rect 3847 132 3937 195
rect 3847 98 3863 132
rect 3897 98 3937 132
rect 3847 69 3937 98
rect 3971 213 4005 229
rect 3971 103 4005 179
rect 3971 17 4005 69
rect 4041 213 4107 363
rect 4041 179 4057 213
rect 4091 179 4107 213
rect 4041 103 4107 179
rect 4041 69 4057 103
rect 4091 69 4107 103
rect 4041 53 4107 69
rect 0 -17 31 17
rect 65 -17 127 17
rect 161 -17 223 17
rect 257 -17 319 17
rect 353 -17 415 17
rect 449 -17 511 17
rect 545 -17 607 17
rect 641 -17 703 17
rect 737 -17 799 17
rect 833 -17 895 17
rect 929 -17 991 17
rect 1025 -17 1087 17
rect 1121 -17 1183 17
rect 1217 -17 1279 17
rect 1313 -17 1375 17
rect 1409 -17 1471 17
rect 1505 -17 1567 17
rect 1601 -17 1663 17
rect 1697 -17 1759 17
rect 1793 -17 1855 17
rect 1889 -17 1951 17
rect 1985 -17 2047 17
rect 2081 -17 2143 17
rect 2177 -17 2239 17
rect 2273 -17 2335 17
rect 2369 -17 2431 17
rect 2465 -17 2527 17
rect 2561 -17 2623 17
rect 2657 -17 2719 17
rect 2753 -17 2815 17
rect 2849 -17 2911 17
rect 2945 -17 3007 17
rect 3041 -17 3103 17
rect 3137 -17 3199 17
rect 3233 -17 3295 17
rect 3329 -17 3391 17
rect 3425 -17 3487 17
rect 3521 -17 3583 17
rect 3617 -17 3679 17
rect 3713 -17 3775 17
rect 3809 -17 3871 17
rect 3905 -17 3967 17
rect 4001 -17 4063 17
rect 4097 -17 4128 17
<< viali >>
rect 31 649 65 683
rect 127 649 161 683
rect 223 649 257 683
rect 319 649 353 683
rect 415 649 449 683
rect 511 649 545 683
rect 607 649 641 683
rect 703 649 737 683
rect 799 649 833 683
rect 895 649 929 683
rect 991 649 1025 683
rect 1087 649 1121 683
rect 1183 649 1217 683
rect 1279 649 1313 683
rect 1375 649 1409 683
rect 1471 649 1505 683
rect 1567 649 1601 683
rect 1663 649 1697 683
rect 1759 649 1793 683
rect 1855 649 1889 683
rect 1951 649 1985 683
rect 2047 649 2081 683
rect 2143 649 2177 683
rect 2239 649 2273 683
rect 2335 649 2369 683
rect 2431 649 2465 683
rect 2527 649 2561 683
rect 2623 649 2657 683
rect 2719 649 2753 683
rect 2815 649 2849 683
rect 2911 649 2945 683
rect 3007 649 3041 683
rect 3103 649 3137 683
rect 3199 649 3233 683
rect 3295 649 3329 683
rect 3391 649 3425 683
rect 3487 649 3521 683
rect 3583 649 3617 683
rect 3679 649 3713 683
rect 3775 649 3809 683
rect 3871 649 3905 683
rect 3967 649 4001 683
rect 4063 649 4097 683
rect 2911 547 2945 581
rect 3295 575 3329 581
rect 3295 547 3306 575
rect 3306 547 3329 575
rect 3391 547 3425 581
rect 31 -17 65 17
rect 127 -17 161 17
rect 223 -17 257 17
rect 319 -17 353 17
rect 415 -17 449 17
rect 511 -17 545 17
rect 607 -17 641 17
rect 703 -17 737 17
rect 799 -17 833 17
rect 895 -17 929 17
rect 991 -17 1025 17
rect 1087 -17 1121 17
rect 1183 -17 1217 17
rect 1279 -17 1313 17
rect 1375 -17 1409 17
rect 1471 -17 1505 17
rect 1567 -17 1601 17
rect 1663 -17 1697 17
rect 1759 -17 1793 17
rect 1855 -17 1889 17
rect 1951 -17 1985 17
rect 2047 -17 2081 17
rect 2143 -17 2177 17
rect 2239 -17 2273 17
rect 2335 -17 2369 17
rect 2431 -17 2465 17
rect 2527 -17 2561 17
rect 2623 -17 2657 17
rect 2719 -17 2753 17
rect 2815 -17 2849 17
rect 2911 -17 2945 17
rect 3007 -17 3041 17
rect 3103 -17 3137 17
rect 3199 -17 3233 17
rect 3295 -17 3329 17
rect 3391 -17 3425 17
rect 3487 -17 3521 17
rect 3583 -17 3617 17
rect 3679 -17 3713 17
rect 3775 -17 3809 17
rect 3871 -17 3905 17
rect 3967 -17 4001 17
rect 4063 -17 4097 17
<< metal1 >>
rect 0 683 4128 715
rect 0 649 31 683
rect 65 649 127 683
rect 161 649 223 683
rect 257 649 319 683
rect 353 649 415 683
rect 449 649 511 683
rect 545 649 607 683
rect 641 649 703 683
rect 737 649 799 683
rect 833 649 895 683
rect 929 649 991 683
rect 1025 649 1087 683
rect 1121 649 1183 683
rect 1217 649 1279 683
rect 1313 649 1375 683
rect 1409 649 1471 683
rect 1505 649 1567 683
rect 1601 649 1663 683
rect 1697 649 1759 683
rect 1793 649 1855 683
rect 1889 649 1951 683
rect 1985 649 2047 683
rect 2081 649 2143 683
rect 2177 649 2239 683
rect 2273 649 2335 683
rect 2369 649 2431 683
rect 2465 649 2527 683
rect 2561 649 2623 683
rect 2657 649 2719 683
rect 2753 649 2815 683
rect 2849 649 2911 683
rect 2945 649 3007 683
rect 3041 649 3103 683
rect 3137 649 3199 683
rect 3233 649 3295 683
rect 3329 649 3391 683
rect 3425 649 3487 683
rect 3521 649 3583 683
rect 3617 649 3679 683
rect 3713 649 3775 683
rect 3809 649 3871 683
rect 3905 649 3967 683
rect 4001 649 4063 683
rect 4097 649 4128 683
rect 0 617 4128 649
rect 14 581 4114 589
rect 14 547 2911 581
rect 2945 547 3295 581
rect 3329 547 3391 581
rect 3425 547 4114 581
rect 14 535 4114 547
rect 0 17 4128 49
rect 0 -17 31 17
rect 65 -17 127 17
rect 161 -17 223 17
rect 257 -17 319 17
rect 353 -17 415 17
rect 449 -17 511 17
rect 545 -17 607 17
rect 641 -17 703 17
rect 737 -17 799 17
rect 833 -17 895 17
rect 929 -17 991 17
rect 1025 -17 1087 17
rect 1121 -17 1183 17
rect 1217 -17 1279 17
rect 1313 -17 1375 17
rect 1409 -17 1471 17
rect 1505 -17 1567 17
rect 1601 -17 1663 17
rect 1697 -17 1759 17
rect 1793 -17 1855 17
rect 1889 -17 1951 17
rect 1985 -17 2047 17
rect 2081 -17 2143 17
rect 2177 -17 2239 17
rect 2273 -17 2335 17
rect 2369 -17 2431 17
rect 2465 -17 2527 17
rect 2561 -17 2623 17
rect 2657 -17 2719 17
rect 2753 -17 2815 17
rect 2849 -17 2911 17
rect 2945 -17 3007 17
rect 3041 -17 3103 17
rect 3137 -17 3199 17
rect 3233 -17 3295 17
rect 3329 -17 3391 17
rect 3425 -17 3487 17
rect 3521 -17 3583 17
rect 3617 -17 3679 17
rect 3713 -17 3775 17
rect 3809 -17 3871 17
rect 3905 -17 3967 17
rect 4001 -17 4063 17
rect 4097 -17 4128 17
rect 0 -49 4128 -17
<< labels >>
flabel pwell s 0 0 4128 49 0 FreeSans 200 0 0 0 VNB
port 9 nsew ground bidirectional
flabel nwell s 0 617 4128 666 0 FreeSans 200 0 0 0 VPB
port 10 nsew power bidirectional
rlabel comment s 0 0 0 0 4 srsdfrtp_1
flabel metal1 s 14 535 4114 589 0 FreeSans 340 0 0 0 KAPWR
port 7 nsew power bidirectional
flabel metal1 s 0 617 4128 666 0 FreeSans 340 0 0 0 VPWR
port 11 nsew power bidirectional
flabel metal1 s 0 0 4128 49 0 FreeSans 340 0 0 0 VGND
port 8 nsew ground bidirectional
flabel locali s 3679 242 3713 276 0 FreeSans 340 0 0 0 SLEEP_B
port 6 nsew signal input
flabel locali s 3391 316 3425 350 0 FreeSans 340 0 0 0 CLK
port 1 nsew clock input
flabel locali s 703 316 737 350 0 FreeSans 340 0 0 0 SCD
port 4 nsew signal input
flabel locali s 319 390 353 424 0 FreeSans 340 0 0 0 D
port 2 nsew signal input
flabel locali s 127 316 161 350 0 FreeSans 340 0 0 0 SCE
port 5 nsew signal input
flabel locali s 127 390 161 424 0 FreeSans 340 0 0 0 SCE
port 5 nsew signal input
flabel locali s 799 316 833 350 0 FreeSans 340 0 0 0 RESET_B
port 3 nsew signal input
flabel locali s 4063 94 4097 128 0 FreeSans 340 0 0 0 Q
port 12 nsew signal output
flabel locali s 4063 168 4097 202 0 FreeSans 340 0 0 0 Q
port 12 nsew signal output
flabel locali s 4063 242 4097 276 0 FreeSans 340 0 0 0 Q
port 12 nsew signal output
flabel locali s 4063 316 4097 350 0 FreeSans 340 0 0 0 Q
port 12 nsew signal output
flabel locali s 4063 390 4097 424 0 FreeSans 340 0 0 0 Q
port 12 nsew signal output
<< properties >>
string LEFsite unit
string LEFclass CORE
string FIXED_BBOX 0 0 4128 666
string GDS_FILE $PDKPATH/libs.ref/sky130_fd_sc_lp/gds/sky130_fd_sc_lp.gds
string LEFsymmetry X Y R90
string GDS_END 5771440
string GDS_START 5747634
<< end >>
